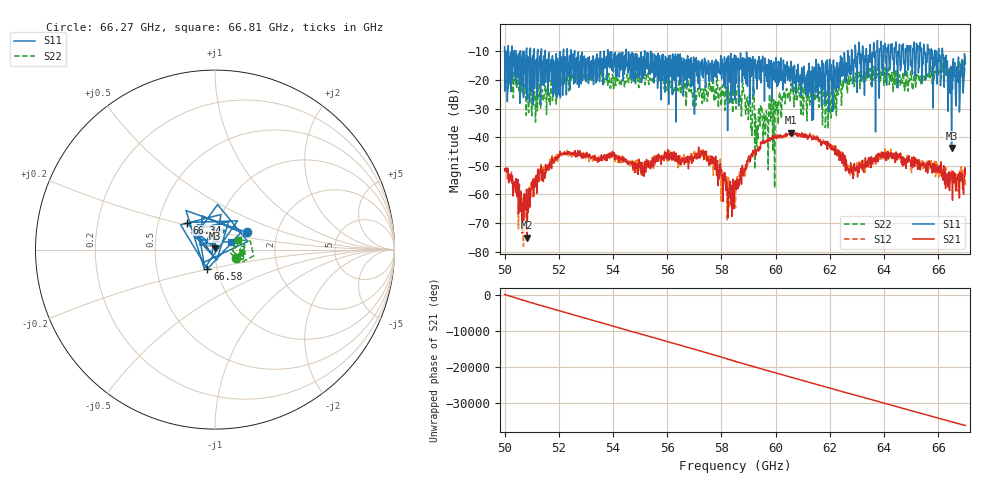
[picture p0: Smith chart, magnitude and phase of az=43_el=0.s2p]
!Created with skrf (http://scikit-rf.org).
# GHz S RI R 50.0
!freq ReS11 ImS11 ReS21 ImS21 ReS12 ImS12 ReS22 ImS22
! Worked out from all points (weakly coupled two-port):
!   1001 points, 50 GHz to 67 GHz, reference 50 ohm
!   highest |S21| = -38.41 dB at 60.57 GHz (marker M1); lowest = -75.1 dB at 50.83 GHz (marker M2)
!   lowest |S11| = -43.8 dB at 66.49 GHz (marker M3), VSWR 1.01, Z = 49.9 + j0.642 ohm
!   |S11| at or under -10 dB: 52.58 GHz to 53.67 GHz (1.087 GHz wide, 2.05 % of centre); 55.39 GHz to 62.66 GHz (7.275 GHz wide, 12.3 % of centre); 66.16 GHz to end of sweep (the widest 3 of 61)
!   |S22| runs from -57.7 to -13.2 dB; largest |S21 - S12| = 0.0023
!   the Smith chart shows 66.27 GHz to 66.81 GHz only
!   S11 on the Smith chart (normalised r, x): 66.27 GHz: 1.40, +0.28; 66.34 GHz: 0.70, +0.22; 66.58 GHz: 0.90, -0.20; 66.81 GHz: 1.18, +0.10
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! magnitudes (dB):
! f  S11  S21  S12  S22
! 50 GHz  -8.4  -51.1  -51.9  -24.1
! 50.68 GHz  -9.9  -62.8  -65.4  -23.7
! 50.83 GHz  -26.8  -75.1  -62.0  -22.1
! 52.01 GHz  -25.2  -46.4  -47.1  -21.8
! 52.84 GHz  -12.5  -45.7  -47.2  -20.0
! 55.68 GHz  -13.5  -45.9  -47.3  -21.1
! 57.34 GHz  -15.7  -47.9  -46.9  -23.5
! 58.31 GHz  -20.8  -55.4  -56.1  -24.4
! 58.5 GHz  -26.9  -55.7  -60.0  -23.6
! 59.11 GHz  -12.9  -45.6  -46.4  -36.3
! 59.32 GHz  -23.1  -44.6  -44.2  -36.2
! 60.57 GHz  -17.6  -38.4  -39.3  -21.2
! 61.34 GHz  -34.1  -40.9  -39.7  -27.1
! 62 GHz  -12.8  -42.4  -42.5  -24.4
! 62.77 GHz  -15.2  -48.9  -50.7  -18.9
! 64.18 GHz  -12.1  -47.1  -46.8  -17.7
! 66.27 GHz  -13.9  -57.9  -51.7  -18.0
! 66.34 GHz  -13.3  -52.8  -53.2  -17.4
! 66.49 GHz  -43.8  -53.9  -51.7  -15.4
! 66.58 GHz  -18.7  -55.8  -56.6  -15.6
! 66.81 GHz  -20.3  -52.7  -52.4  -17.2
! 67 GHz  -14.3  -52.7  -57.2  -14.3
